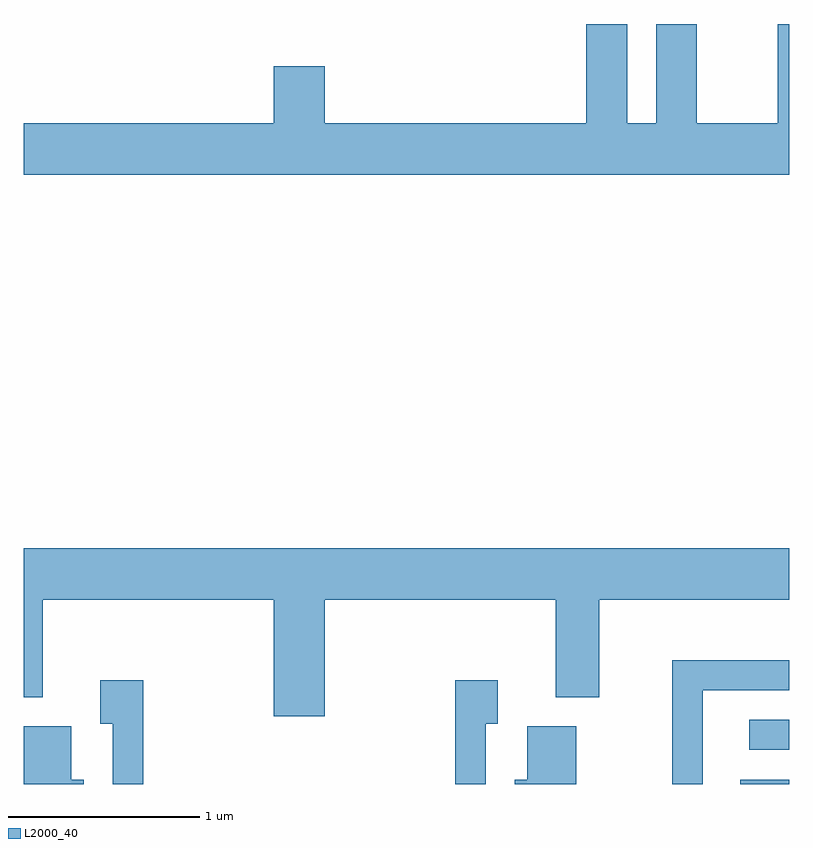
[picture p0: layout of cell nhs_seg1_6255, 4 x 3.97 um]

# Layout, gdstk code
import gdstk
lib = gdstk.Library(unit=1e-6, precision=1e-09)
def R(c, l, rs):  # rectangles x0, y0, x1, y1
    for r in rs: c.add(gdstk.rectangle(r[:2], r[2:], *l))
def P(c, l, *ps):  # polygons
    for p in ps: c.add(gdstk.Polygon(p, *l))
L2000_40 = (2000, 40)

nhs_seg1_6255 = lib.new_cell('nhs_seg1_6255')
R(nhs_seg1_6255, L2000_40, [(377.356,909.712,377.611,909.734), (377.403,909.891,377.611,910.049)])
P(nhs_seg1_6255, L2000_40, [(377.611,913.684),(377.551,913.684),(377.551,913.164),(377.129,913.164),(377.129,913.684),(376.916,913.684),(376.916,913.164),(376.764,913.164),(376.764,913.684),(376.551,913.684),(376.551,913.164),(375.184,913.164),(375.184,913.464),(374.916,913.464),(374.916,913.164),(373.611,913.164),(373.611,912.896),(377.611,912.896)],
  [(375.184,910.676),(376.391,910.676),(376.391,910.166),(376.619,910.166),(376.619,910.676),(377.611,910.676),(377.611,910.944),(373.611,910.944),(373.611,910.166),(373.709,910.166),(373.709,910.676),(374.916,910.676),(374.916,910.066),(375.184,910.066)],
  [(377.159,910.201),(377.611,910.201),(377.611,910.359),(377.001,910.359),(377.001,909.712),(377.159,909.712)],
  [(374.234,910.254),(374.011,910.254),(374.011,910.026),(374.076,910.026),(374.076,909.712),(374.234,909.712)],
  [(376.024,910.026),(376.089,910.026),(376.089,910.254),(375.866,910.254),(375.866,909.712),(376.024,909.712)],
  [(373.924,909.734),(373.859,909.734),(373.859,910.014),(373.611,910.014),(373.611,909.712),(373.924,909.712)],
  [(376.499,910.014),(376.241,910.014),(376.241,909.734),(376.176,909.734),(376.176,909.712),(376.499,909.712)])

lib.write_gds('nhs_seg1_6255.gds')
